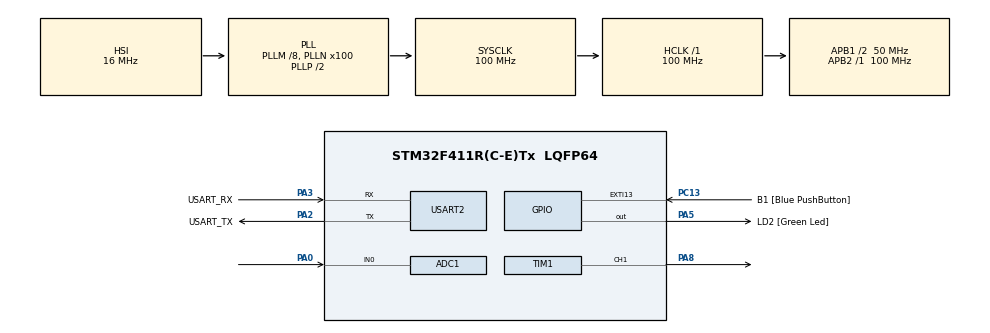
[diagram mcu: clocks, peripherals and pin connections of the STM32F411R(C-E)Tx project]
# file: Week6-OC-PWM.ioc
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ADC1.Channel-0\#ChannelRegularConversion=ADC_CHANNEL_0
ADC1.ExternalTrigConv=ADC_EXTERNALTRIGCONV_T3_TRGO
ADC1.NbrOfConversionFlag=1
ADC1.Rank-0\#ChannelRegularConversion=1
ADC1.SamplingTime-0\#ChannelRegularConversion=ADC_SAMPLETIME_56CYCLES
ADC1.master=1
Mcu.Family=STM32F4
Mcu.Name=STM32F411R(C-E)Tx
Mcu.Package=LQFP64
NVIC.ADC_IRQn=true\:0\:0\:false\:false\:true\:true\:true
NVIC.PriorityGroup=NVIC_PRIORITYGROUP_0
NVIC.TIM1_TRG_COM_TIM11_IRQn=true\:0\:0\:false\:false\:true\:true\:true
PA0-WKUP.Signal=ADCx_IN0
PA13.GPIO_Label=TMS
PA13.Mode=Serial_Wire
PA13.Signal=SYS_JTMS-SWDIO
PA14.GPIO_Label=TCK
PA14.Mode=Serial_Wire
PA14.Signal=SYS_JTCK-SWCLK
PA2.GPIO_Label=USART_TX
PA2.Mode=Asynchronous
PA2.Signal=USART2_TX
PA3.GPIO_Label=USART_RX
PA3.Mode=Asynchronous
PA3.Signal=USART2_RX
PA5.GPIO_Label=LD2 [Green Led]
PA5.Signal=GPIO_Output
PA8.Signal=S_TIM1_CH1
PB3.GPIO_Label=SWO
PB3.Signal=SYS_JTDO-SWO
PC13-ANTI_TAMP.GPIO_Label=B1 [Blue PushButton]
PC13-ANTI_TAMP.GPIO_ModeDefaultEXTI=GPIO_MODE_IT_FALLING
PC13-ANTI_TAMP.Signal=GPXTI13
PC14-OSC32_IN.Mode=LSE-External-Oscillator
PC14-OSC32_IN.Signal=RCC_OSC32_IN
PC15-OSC32_OUT.Mode=LSE-External-Oscillator
PC15-OSC32_OUT.Signal=RCC_OSC32_OUT
PH0\ -\ OSC_IN.Mode=HSE-External-Clock-Source
PH0\ -\ OSC_IN.Signal=RCC_OSC_IN
PH1\ -\ OSC_OUT.Mode=HSE-External-Clock-Source
PH1\ -\ OSC_OUT.Signal=RCC_OSC_OUT
ProjectManager.HeapSize=0x200
ProjectManager.StackSize=0x400
ProjectManager.TargetToolchain=STM32CubeIDE
RCC.48MHZClocksFreq_Value=50000000
RCC.AHBFreq_Value=100000000
RCC.APB1CLKDivider=RCC_HCLK_DIV2
RCC.APB1Freq_Value=50000000
RCC.APB1TimFreq_Value=100000000
RCC.APB2Freq_Value=100000000
RCC.APB2TimFreq_Value=100000000
RCC.CortexFreq_Value=100000000
RCC.FLatency-AdvancedSettings=FLASH_LATENCY_3
RCC.HCLKFreq_Value=100000000
RCC.HSE_VALUE=8000000
RCC.HSI_VALUE=16000000
RCC.PLLM=8
RCC.PLLN=100
RCC.SYSCLKFreq_VALUE=100000000
RCC.SYSCLKSource=RCC_SYSCLKSOURCE_PLLCLK
RCC.VCOOutputFreq_Value=200000000
SH.ADCx_IN0.0=ADC1_IN0,IN0
SH.S_TIM1_CH1.0=TIM1_CH1,PWM Generation1 CH1
TIM1.Channel-PWM\ Generation1\ CH1=TIM_CHANNEL_1
TIM1.OC1Preload_PWM=ENABLE
TIM1.Period=10000
TIM1.Pulse-PWM\ Generation1\ CH1=5000
TIM11.Prescaler=99
TIM3.Period=1000
TIM3.Prescaler=99
TIM3.TIM_MasterOutputTrigger=TIM_TRGO_UPDATE
USART2.VirtualMode=VM_ASYNC
VP_TIM11_VS_ClockSourceINT.Mode=Enable_Timer
VP_TIM1_VS_ClockSourceINT.Mode=Internal
VP_TIM3_VS_ClockSourceINT.Mode=Internal
board=NUCLEO-F411RE

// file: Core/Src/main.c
/* USER CODE BEGIN Header */
/**
 ******************************************************************************
 * @file           : main.c
 * @brief          : Main program body
 ******************************************************************************
 * @attention
 *
 * <h2><center>&copy; Copyright (c) 2021 STMicroelectronics.
 * All rights reserved.</center></h2>
 *
 * This software component is licensed by ST under BSD 3-Clause license,
 * the "License"; You may not use this file except in compliance with the
 * License. You may obtain a copy of the License at:
 *                        opensource.org/licenses/BSD-3-Clause
 *
 ******************************************************************************
 */
/* USER CODE END Header */
#include "main.h"

ADC_HandleTypeDef hadc1;

TIM_HandleTypeDef htim1;
TIM_HandleTypeDef htim3;
TIM_HandleTypeDef htim11;

UART_HandleTypeDef huart2;

/* USER CODE BEGIN PV */

uint8_t ADCUpdateFlag = 0;
//Store ADC Value
uint16_t ADCFeedBack = 0;
uint16_t ADCUpdate = 0;

uint16_t PWMOut = 3000;

uint64_t _micro = 0;
uint64_t TimeOutputLoop = 0;

float Volt = 1;
float KP = 2;
float KI = 4;
float KD = 1;
float error = 0;
float integral_error = 0;
float last_error = 0;
float newVolt = 0;

/* USER CODE END PV */

void SystemClock_Config(void);
static void MX_GPIO_Init(void);
static void MX_USART2_UART_Init(void);
static void MX_ADC1_Init(void);
static void MX_TIM1_Init(void);
static void MX_TIM11_Init(void);
static void MX_TIM3_Init(void);
/* USER CODE BEGIN PFP */
uint64_t micros();
/* USER CODE END PFP */

int main(void)
{

  /* MCU Configuration--------------------------------------------------------*/

  /* Reset of all peripherals, Initializes the Flash interface and the Systick. */
  HAL_Init();

  /* Configure the system clock */
  SystemClock_Config();

  /* Initialize all configured peripherals */
  MX_GPIO_Init();
  MX_USART2_UART_Init();
  MX_ADC1_Init();
  MX_TIM1_Init();
  MX_TIM11_Init();
  MX_TIM3_Init();
  /* USER CODE BEGIN 2 */
	//ADC START
	HAL_ADC_Start_IT(&hadc1);
	HAL_TIM_Base_Start(&htim3);
	// start pwm
	HAL_TIM_Base_Start(&htim1);
	HAL_TIM_PWM_Start(&htim1, TIM_CHANNEL_1);
	// start micros
	HAL_TIM_Base_Start_IT(&htim11);

  /* USER CODE END 2 */

  /* Infinite loop */
	while (1)
	{

    /* USER CODE BEGIN 3 */

		//1 Khz Loop
		if (micros() - TimeOutputLoop >= 1000)//uS
		{
			TimeOutputLoop = micros();
			// #001

			ADCUpdate = (Volt * 4096)/3.3;
			error = ADCUpdate - ADCFeedBack;
			integral_error += error;
			PWMOut = (KP*error) + (KI*integral_error) + (KD*(error-last_error));
//			PWMOut = (KP*error) + (KI*integral_error);
			last_error = error;

			__HAL_TIM_SET_COMPARE(&htim1, TIM_CHANNEL_1, PWMOut);

			newVolt = (ADCFeedBack * 3.3)/4096;

		}

		if (ADCUpdateFlag)
		{
			ADCUpdateFlag = 0;
			//#002
		}

	}
  /* USER CODE END 3 */
}

void SystemClock_Config(void)
{
  RCC_OscInitTypeDef RCC_OscInitStruct = {0};
  RCC_ClkInitTypeDef RCC_ClkInitStruct = {0};

  /** Configure the main internal regulator output voltage
  */
  __HAL_RCC_PWR_CLK_ENABLE();
  __HAL_PWR_VOLTAGESCALING_CONFIG(PWR_REGULATOR_VOLTAGE_SCALE1);
  /** Initializes the RCC Oscillators according to the specified parameters
  * in the RCC_OscInitTypeDef structure.
  */
  RCC_OscInitStruct.OscillatorType = RCC_OSCILLATORTYPE_HSI;
  RCC_OscInitStruct.HSIState = RCC_HSI_ON;
  RCC_OscInitStruct.HSICalibrationValue = RCC_HSICALIBRATION_DEFAULT;
  RCC_OscInitStruct.PLL.PLLState = RCC_PLL_ON;
  RCC_OscInitStruct.PLL.PLLSource = RCC_PLLSOURCE_HSI;
  RCC_OscInitStruct.PLL.PLLM = 8;
  RCC_OscInitStruct.PLL.PLLN = 100;
  RCC_OscInitStruct.PLL.PLLP = RCC_PLLP_DIV2;
  RCC_OscInitStruct.PLL.PLLQ = 4;
  if (HAL_RCC_OscConfig(&RCC_OscInitStruct) != HAL_OK)
  {
    Error_Handler();
  }
  /** Initializes the CPU, AHB and APB buses clocks
  */
  RCC_ClkInitStruct.ClockType = RCC_CLOCKTYPE_HCLK|RCC_CLOCKTYPE_SYSCLK
                              |RCC_CLOCKTYPE_PCLK1|RCC_CLOCKTYPE_PCLK2;
  RCC_ClkInitStruct.SYSCLKSource = RCC_SYSCLKSOURCE_PLLCLK;
  RCC_ClkInitStruct.AHBCLKDivider = RCC_SYSCLK_DIV1;
  RCC_ClkInitStruct.APB1CLKDivider = RCC_HCLK_DIV2;
  RCC_ClkInitStruct.APB2CLKDivider = RCC_HCLK_DIV1;

  if (HAL_RCC_ClockConfig(&RCC_ClkInitStruct, FLASH_LATENCY_3) != HAL_OK)
  {
    Error_Handler();
  }
}

static void MX_ADC1_Init(void)
{

  ADC_ChannelConfTypeDef sConfig = {0};

  /** Configure the global features of the ADC (Clock, Resolution, Data Alignment and number of conversion)
  */
  hadc1.Instance = ADC1;
  hadc1.Init.ClockPrescaler = ADC_CLOCK_SYNC_PCLK_DIV4;
  hadc1.Init.Resolution = ADC_RESOLUTION_12B;
  hadc1.Init.ScanConvMode = DISABLE;
  hadc1.Init.ContinuousConvMode = DISABLE;
  hadc1.Init.DiscontinuousConvMode = DISABLE;
  hadc1.Init.ExternalTrigConvEdge = ADC_EXTERNALTRIGCONVEDGE_RISING;
  hadc1.Init.ExternalTrigConv = ADC_EXTERNALTRIGCONV_T3_TRGO;
  hadc1.Init.DataAlign = ADC_DATAALIGN_RIGHT;
  hadc1.Init.NbrOfConversion = 1;
  hadc1.Init.DMAContinuousRequests = DISABLE;
  hadc1.Init.EOCSelection = ADC_EOC_SINGLE_CONV;
  if (HAL_ADC_Init(&hadc1) != HAL_OK)
  {
    Error_Handler();
  }
  /** Configure for the selected ADC regular channel its corresponding rank in the sequencer and its sample time.
  */
  sConfig.Channel = ADC_CHANNEL_0;
  sConfig.Rank = 1;
  sConfig.SamplingTime = ADC_SAMPLETIME_56CYCLES;
  if (HAL_ADC_ConfigChannel(&hadc1, &sConfig) != HAL_OK)
  {
    Error_Handler();
  }

}

static void MX_TIM1_Init(void)
{

  TIM_ClockConfigTypeDef sClockSourceConfig = {0};
  TIM_MasterConfigTypeDef sMasterConfig = {0};
  TIM_OC_InitTypeDef sConfigOC = {0};
  TIM_BreakDeadTimeConfigTypeDef sBreakDeadTimeConfig = {0};

  htim1.Instance = TIM1;
  htim1.Init.Prescaler = 0;
  htim1.Init.CounterMode = TIM_COUNTERMODE_UP;
  htim1.Init.Period = 10000;
  htim1.Init.ClockDivision = TIM_CLOCKDIVISION_DIV1;
  htim1.Init.RepetitionCounter = 0;
  htim1.Init.AutoReloadPreload = TIM_AUTORELOAD_PRELOAD_ENABLE;
  if (HAL_TIM_Base_Init(&htim1) != HAL_OK)
  {
    Error_Handler();
  }
  sClockSourceConfig.ClockSource = TIM_CLOCKSOURCE_INTERNAL;
  if (HAL_TIM_ConfigClockSource(&htim1, &sClockSourceConfig) != HAL_OK)
  {
    Error_Handler();
  }
  if (HAL_TIM_PWM_Init(&htim1) != HAL_OK)
  {
    Error_Handler();
  }
  sMasterConfig.MasterOutputTrigger = TIM_TRGO_RESET;
  sMasterConfig.MasterSlaveMode = TIM_MASTERSLAVEMODE_DISABLE;
  if (HAL_TIMEx_MasterConfigSynchronization(&htim1, &sMasterConfig) != HAL_OK)
  {
    Error_Handler();
  }
  sConfigOC.OCMode = TIM_OCMODE_PWM1;
  sConfigOC.Pulse = 0;
  sConfigOC.OCPolarity = TIM_OCPOLARITY_HIGH;
  sConfigOC.OCNPolarity = TIM_OCNPOLARITY_HIGH;
  sConfigOC.OCFastMode = TIM_OCFAST_DISABLE;
  sConfigOC.OCIdleState = TIM_OCIDLESTATE_RESET;
  sConfigOC.OCNIdleState = TIM_OCNIDLESTATE_RESET;
  if (HAL_TIM_PWM_ConfigChannel(&htim1, &sConfigOC, TIM_CHANNEL_1) != HAL_OK)
  {
    Error_Handler();
  }
  sBreakDeadTimeConfig.OffStateRunMode = TIM_OSSR_DISABLE;
  sBreakDeadTimeConfig.OffStateIDLEMode = TIM_OSSI_DISABLE;
  sBreakDeadTimeConfig.LockLevel = TIM_LOCKLEVEL_OFF;
  sBreakDeadTimeConfig.DeadTime = 0;
  sBreakDeadTimeConfig.BreakState = TIM_BREAK_DISABLE;
  sBreakDeadTimeConfig.BreakPolarity = TIM_BREAKPOLARITY_HIGH;
  sBreakDeadTimeConfig.AutomaticOutput = TIM_AUTOMATICOUTPUT_DISABLE;
  if (HAL_TIMEx_ConfigBreakDeadTime(&htim1, &sBreakDeadTimeConfig) != HAL_OK)
  {
    Error_Handler();
  }
  HAL_TIM_MspPostInit(&htim1);

}

static void MX_TIM3_Init(void)
{

  TIM_ClockConfigTypeDef sClockSourceConfig = {0};
  TIM_MasterConfigTypeDef sMasterConfig = {0};

  htim3.Instance = TIM3;
  htim3.Init.Prescaler = 99;
  htim3.Init.CounterMode = TIM_COUNTERMODE_UP;
  htim3.Init.Period = 1000;
  htim3.Init.ClockDivision = TIM_CLOCKDIVISION_DIV1;
  htim3.Init.AutoReloadPreload = TIM_AUTORELOAD_PRELOAD_DISABLE;
  if (HAL_TIM_Base_Init(&htim3) != HAL_OK)
  {
    Error_Handler();
  }
  sClockSourceConfig.ClockSource = TIM_CLOCKSOURCE_INTERNAL;
  if (HAL_TIM_ConfigClockSource(&htim3, &sClockSourceConfig) != HAL_OK)
  {
    Error_Handler();
  }
  sMasterConfig.MasterOutputTrigger = TIM_TRGO_UPDATE;
  sMasterConfig.MasterSlaveMode = TIM_MASTERSLAVEMODE_DISABLE;
  if (HAL_TIMEx_MasterConfigSynchronization(&htim3, &sMasterConfig) != HAL_OK)
  {
    Error_Handler();
  }

}

static void MX_TIM11_Init(void)
{

  htim11.Instance = TIM11;
  htim11.Init.Prescaler = 99;
  htim11.Init.CounterMode = TIM_COUNTERMODE_UP;
  htim11.Init.Period = 65535;
  htim11.Init.ClockDivision = TIM_CLOCKDIVISION_DIV1;
  htim11.Init.AutoReloadPreload = TIM_AUTORELOAD_PRELOAD_DISABLE;
  if (HAL_TIM_Base_Init(&htim11) != HAL_OK)
  {
    Error_Handler();
  }

}

static void MX_USART2_UART_Init(void)
{

  huart2.Instance = USART2;
  huart2.Init.BaudRate = 115200;
  huart2.Init.WordLength = UART_WORDLENGTH_8B;
  huart2.Init.StopBits = UART_STOPBITS_1;
  huart2.Init.Parity = UART_PARITY_NONE;
  huart2.Init.Mode = UART_MODE_TX_RX;
  huart2.Init.HwFlowCtl = UART_HWCONTROL_NONE;
  huart2.Init.OverSampling = UART_OVERSAMPLING_16;
  if (HAL_UART_Init(&huart2) != HAL_OK)
  {
    Error_Handler();
  }

}

static void MX_GPIO_Init(void)
{
  GPIO_InitTypeDef GPIO_InitStruct = {0};

  /* GPIO Ports Clock Enable */
  __HAL_RCC_GPIOC_CLK_ENABLE();
  __HAL_RCC_GPIOH_CLK_ENABLE();
  __HAL_RCC_GPIOA_CLK_ENABLE();
  __HAL_RCC_GPIOB_CLK_ENABLE();

  /*Configure GPIO pin Output Level */
  HAL_GPIO_WritePin(LD2_GPIO_Port, LD2_Pin, GPIO_PIN_RESET);

  /*Configure GPIO pin : B1_Pin */
  GPIO_InitStruct.Pin = B1_Pin;
  GPIO_InitStruct.Mode = GPIO_MODE_IT_FALLING;
  GPIO_InitStruct.Pull = GPIO_NOPULL;
  HAL_GPIO_Init(B1_GPIO_Port, &GPIO_InitStruct);

  /*Configure GPIO pin : LD2_Pin */
  GPIO_InitStruct.Pin = LD2_Pin;
  GPIO_InitStruct.Mode = GPIO_MODE_OUTPUT_PP;
  GPIO_InitStruct.Pull = GPIO_NOPULL;
  GPIO_InitStruct.Speed = GPIO_SPEED_FREQ_LOW;
  HAL_GPIO_Init(LD2_GPIO_Port, &GPIO_InitStruct);

}

/* USER CODE BEGIN 4 */

void HAL_ADC_ConvCpltCallback(ADC_HandleTypeDef *hadc)
{
	ADCFeedBack = HAL_ADC_GetValue(&hadc1);
	ADCUpdateFlag = 1;
}
void HAL_TIM_PeriodElapsedCallback(TIM_HandleTypeDef *htim)
{
	if (htim == &htim11)
	{
		_micro += 65535;
	}
}

__inline__ uint64_t micros()
{
	return _micro + htim11.Instance->CNT;
}
/* USER CODE END 4 */

void Error_Handler(void)
{
	__disable_irq();
	while (1)
	{
	}
}

/************************ (C) COPYRIGHT STMicroelectronics *****END OF FILE****/
